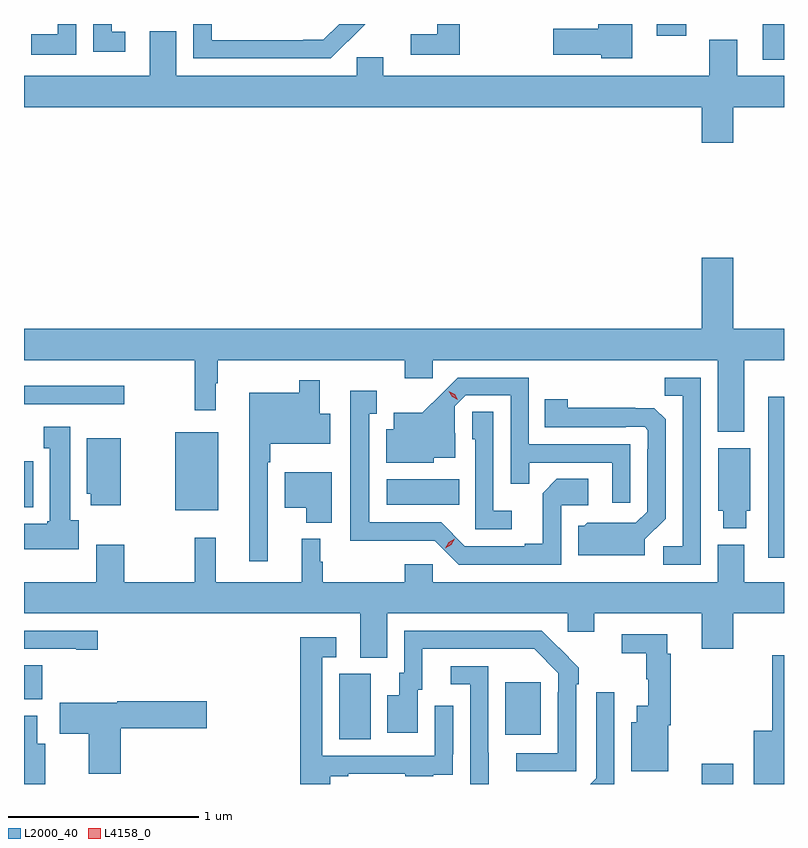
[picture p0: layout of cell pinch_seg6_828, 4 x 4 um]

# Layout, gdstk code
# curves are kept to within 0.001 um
import gdstk
lib = gdstk.Library(unit=1e-6, precision=1e-09)
def R(c, l, rs):  # rectangles x0, y0, x1, y1
    for r in rs: c.add(gdstk.rectangle(r[:2], r[2:], *l))
def P(c, l, *ps):  # polygons
    for p in ps: c.add(gdstk.Polygon(p, *l))
L2000_40 = (2000, 40)
L4158_0 = (4158, 0)

pinch_seg6_828 = lib.new_cell('pinch_seg6_828')
R(pinch_seg6_828, L2000_40, [(141.032,989.061,141.196,989.167), (139.124,989.296,139.288,989.64), (139.997,989.321,140.185,989.596), (137.464,989.508,137.561,989.687), (141.381,990.252,141.464,991.099), (138.26,990.503,138.487,990.913), (137.464,990.518,137.512,990.76), (139.374,990.53,139.754,990.664), (137.464,991.059,137.992,991.156), (141.353,992.874,141.464,993.061), (140.793,993,140.949,993.061)])
P(pinch_seg6_828, L2000_40, [(139.169,992.971),(139.17,992.97),(139.261,993.061),(139.123,993.061),(139.039,992.977),(138.935,992.977),(138.935,992.976),(138.451,992.976),(138.451,993.061),(138.354,993.061),(138.354,992.88),(139.078,992.88)],
  [(137.998,993.021),(137.925,993.021),(137.925,993.061),(137.829,993.061),(137.829,992.916),(137.998,992.916)],
  [(140.665,993.061),(140.486,993.061),(140.486,993.035),(140.25,993.035),(140.25,992.9),(140.502,992.9),(140.502,992.882),(140.665,992.882)],
  [(139.757,993.061),(139.64,993.061),(139.64,993.007),(139.5,993.007),(139.5,992.898),(139.757,992.898)],
  [(137.739,993.061),(137.642,993.061),(137.642,993.007),(137.502,993.007),(137.502,992.898),(137.739,992.898)],
  [(141.196,992.624),(141.464,992.624),(141.464,992.788),(141.217,992.788),(141.217,992.978),(141.07,992.978),(141.07,992.788),(139.354,992.788),(139.354,992.886),(139.215,992.886),(139.215,992.788),(138.265,992.788),(138.265,993.024),(138.125,993.024),(138.125,992.788),(137.464,992.788),(137.464,992.624),(141.032,992.624),(141.032,992.436),(141.196,992.436)],
  [(141.196,991.831),(141.032,991.831),(141.032,991.456),(137.464,991.456),(137.464,991.292),(138.363,991.292),(138.363,991.029),(138.472,991.029),(138.472,991.169),(138.484,991.169),(138.484,991.292),(139.468,991.292),(139.468,991.197),(139.614,991.197),(139.614,991.292),(141.116,991.292),(141.116,990.914),(141.256,990.914),(141.256,991.292),(141.464,991.292),(141.464,991.456),(141.196,991.456)],
  [(140.655,990.849),(140.121,990.849),(140.121,991.2),(139.748,991.2),(139.561,991.015),(139.409,991.015),(139.409,990.928),(139.37,990.928),(139.37,990.752),(139.62,990.752),(139.62,990.779),(139.735,990.779),(139.735,990.908),(139.731,990.908),(139.731,991.05),(139.788,991.107),(140.025,991.107),(140.025,990.64),(140.123,990.64),(140.123,990.753),(140.559,990.753),(140.559,990.54),(140.655,990.54)],
  [(141.027,991.2),(140.836,991.2),(140.836,991.105),(140.931,991.105),(140.931,990.312),(140.829,990.312),(140.829,990.216),(141.027,990.216)],
  [(138.747,990.755),(138.76,990.755),(138.76,990.851),(139.075,990.851),(139.075,991.009),(139.021,991.009),(139.021,991.186),(138.912,991.186),(138.912,991.12),(138.65,991.12),(138.65,990.234),(138.747,990.234)],
  [(140.292,990.528),(140.434,990.528),(140.434,990.668),(140.269,990.668),(140.193,990.592),(140.193,990.325),(140.099,990.325),(140.099,990.312),(139.785,990.312),(139.659,990.438),(139.282,990.438),(139.282,991.011),(139.321,991.011),(139.321,991.132),(139.181,991.132),(139.181,990.341),(139.626,990.342),(139.752,990.216),(140.292,990.216)],
  [(140.731,990.348),(140.841,990.458),(140.841,990.98),(140.782,991.039),(140.325,991.04),(140.325,991.087),(140.206,991.087),(140.206,990.939),(140.63,990.939),(140.63,990.942),(140.73,990.942),(140.748,990.924),(140.748,990.824),(140.745,990.824),(140.745,990.495),(140.685,990.435),(140.428,990.436),(140.412,990.42),(140.381,990.42),(140.381,990.266),(140.731,990.266)],
  [(140.032,990.499),(139.935,990.499),(139.935,991.019),(139.824,991.019),(139.824,990.876),(139.839,990.876),(139.839,990.402),(140.032,990.402)],
  [(137.752,990.45),(137.707,990.45),(137.707,990.94),(137.567,990.94),(137.567,990.827),(137.6,990.827),(137.6,990.444),(137.587,990.444),(137.587,990.43),(137.464,990.43),(137.464,990.296),(137.752,990.296)],
  [(137.974,990.88),(137.795,990.88),(137.795,990.588),(137.816,990.588),(137.816,990.528),(137.974,990.528)],
  [(141.265,990.498),(141.286,990.498),(141.286,990.829),(141.119,990.829),(141.119,990.498),(141.143,990.498),(141.143,990.407),(141.265,990.407)],
  [(139.084,990.703),(138.836,990.703),(138.836,990.515),(138.95,990.515),(138.95,990.437),(139.084,990.437)],
  [(139.375,989.96),(140.325,989.96),(140.325,989.862),(140.464,989.862),(140.464,989.96),(141.032,989.96),(141.032,989.772),(141.196,989.772),(141.196,989.96),(141.464,989.96),(141.464,990.124),(141.256,990.124),(141.256,990.319),(141.116,990.319),(141.116,990.124),(139.614,990.124),(139.614,990.217),(139.468,990.217),(139.468,990.124),(139.036,990.124),(139.036,990.231),(139.024,990.231),(139.024,990.352),(138.926,990.352),(138.926,990.124),(138.473,990.124),(138.473,990.358),(138.363,990.358),(138.363,990.124),(137.991,990.124),(137.991,990.319),(137.843,990.319),(137.843,990.124),(137.464,990.124),(137.464,989.96),(139.235,989.96),(139.235,989.725),(139.375,989.725)],
  [(137.851,989.868),(137.464,989.868),(137.464,989.772),(137.738,989.772),(137.738,989.767),(137.851,989.767)],
  [(140.37,989.585),(140.385,989.585),(140.385,989.673),(140.188,989.868),(139.464,989.868),(139.464,989.646),(139.439,989.646),(139.439,989.527),(139.376,989.527),(139.376,989.331),(139.537,989.331),(139.537,989.556),(139.561,989.556),(139.561,989.772),(140.149,989.772),(140.277,989.643),(140.277,989.543),(140.274,989.543),(140.274,989.223),(140.055,989.223),(140.055,989.127),(140.37,989.127)],
  [(140.856,989.369),(140.867,989.369),(140.867,989.747),(140.849,989.747),(140.849,989.85),(140.61,989.85),(140.61,989.749),(140.739,989.749),(140.739,989.613),(140.75,989.613),(140.75,989.473),(140.69,989.473),(140.69,989.386),(140.66,989.386),(140.66,989.129),(140.856,989.129)],
  [(139.075,989.103),(139.171,989.103),(139.171,989.115),(139.471,989.115),(139.471,989.103),(139.619,989.103),(139.619,989.109),(139.721,989.109),(139.721,989.218),(139.722,989.218),(139.722,989.473),(139.626,989.473),(139.626,989.211),(139.035,989.211),(139.035,989.727),(139.108,989.727),(139.108,989.833),(138.919,989.833),(138.919,989.061),(139.075,989.061)],
  [(141.464,989.739),(141.403,989.739),(141.403,989.341),(141.305,989.341),(141.305,989.061),(141.464,989.061)],
  [(139.909,989.225),(139.908,989.225),(139.908,989.682),(139.71,989.682),(139.71,989.586),(139.812,989.586),(139.812,989.061),(139.909,989.061)],
  [(140.571,989.545),(140.475,989.545),(140.475,989.091),(140.445,989.061),(140.571,989.061)],
  [(137.972,989.354),(138.427,989.354),(138.427,989.496),(137.955,989.496),(137.955,989.488),(137.652,989.488),(137.652,989.326),(137.804,989.326),(137.804,989.115),(137.972,989.115)],
  [(137.575,989.272),(137.533,989.272),(137.533,989.419),(137.464,989.419),(137.464,989.061),(137.575,989.061)])
P(pinch_seg6_828, L4158_0, [(139.747,991.083),(139.717,991.099),(139.7,991.128),(139.7,991.129),(139.7,991.129),(139.731,991.113),(139.748,991.084),(139.748,991.083)],
  [(139.681,990.301),(139.681,990.301),(139.699,990.334),(139.73,990.353),(139.731,990.353),(139.731,990.352),(139.713,990.32),(139.682,990.301)])

lib.write_gds('pinch_seg6_828.gds')
